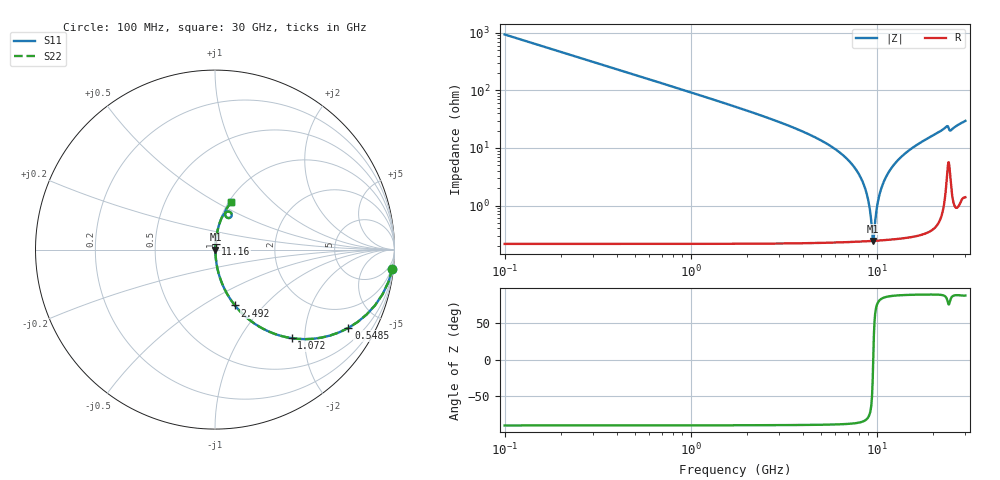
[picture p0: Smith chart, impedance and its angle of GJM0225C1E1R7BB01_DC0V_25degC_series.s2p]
!Murata Part Number: GJM0225C1E1R7BB01
!These Parameters are Measured in Series Mode Connection
!  o--ll--o
!Port1  Port2
!  o------o
!Operation Temp=25[degC], DC Bias Voltage=0[V]
!Freq. Start=100[MHz] Stop=30[GHz], 401[Steps]
!Data Generated on Feb 1, 2023
# Hz S RI R 50
!Freq.(Hz) S11(Real) S11(Imag) S21(Real) S21(Imag) S12(Real) S12(Imag) S22(Real) S22(Imag)
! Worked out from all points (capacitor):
!   401 points, 100 MHz to 30 GHz, reference 50 ohm
!   read as one part in series: C = 1.7 pF near 249.5 MHz
!   lowest |Z| = 244 mohm at 9.593 GHz (marker M1)
!   series resonance near 9.586 GHz, so ESL is about 160 pH
!   S11 on the Smith chart (normalised r, x): 100 MHz: 1, -19; 548.5 MHz: 1.00, -3.40; 1.072 GHz: 1.00, -1.73; 2.492 GHz: 1.00, -0.70; 11.16 GHz: 1.01, +0.06; 30 GHz: 1.03, +0.59
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1e8  0.9887 -0.1056  0.0113 0.1056  0.0113 0.1056  0.9887 -0.1056
3.2425e8  0.8925 -0.3094  0.1075 0.3094  0.1075 0.3094  0.8925 -0.3094
5.485e8  0.7429 -0.4364  0.2571 0.4364  0.2571 0.4364  0.7429 -0.4364
1.07175e9  0.4268 -0.4934  0.5732 0.4934  0.5732 0.4934  0.4268 -0.4934
1.66975e9  0.2291 -0.4183  0.7709 0.4183  0.7709 0.4183  0.2291 -0.4183
2.492e9  0.1109 -0.3109  0.8891 0.3109  0.8891 0.3109  0.1109 -0.3109
5.10825e9  0.0191 -0.1286  0.9809 0.1286  0.9809 0.1286  0.0191 -0.1286
7.05175e9  0.00601 -0.0606  0.994 0.0606  0.994 0.0606  0.00601 -0.0606
8.24775e9  0.00324 -0.0294  0.9968 0.0294  0.9968 0.0294  0.00324 -0.0294
8.99525e9  0.00256 -0.0124  0.9974 0.0124  0.9974 0.0124  0.00256 -0.0124
9.44375e9  0.00243 -0.00293  0.9976 0.00293  0.9976 0.00293  0.00243 -0.00293
9.59325e9  0.00243 0.000143  0.9976 -0.000143  0.9976 -0.000143  0.00243 0.000143
9.74275e9  0.00245 0.00317  0.9976 -0.00317  0.9976 -0.00317  0.00245 0.00317
1.01165e10  0.00257 0.0105  0.9974 -0.0105  0.9974 -0.0105  0.00257 0.0105
1.0565e10  0.00284 0.019  0.9972 -0.019  0.9972 -0.019  0.00284 0.019
1.1163e10  0.00341 0.0299  0.9966 -0.0299  0.9966 -0.0299  0.00341 0.0299
1.273275e10  0.0058 0.0563  0.9942 -0.0563  0.9942 -0.0563  0.0058 0.0563
1.505e10  0.0112 0.0914  0.9888 -0.0914  0.9888 -0.0914  0.0112 0.0914
2.005825e10  0.03 0.1594  0.97 -0.1594  0.97 -0.1594  0.03 0.1594
2.379575e10  0.0754 0.2117  0.9246 -0.2117  0.9246 -0.2117  0.0754 0.2117
2.50665e10  0.0597 0.1851  0.9403 -0.1851  0.9403 -0.1851  0.0597 0.1851
3e10  0.091 0.2649  0.909 -0.2649  0.909 -0.2649  0.091 0.2649
